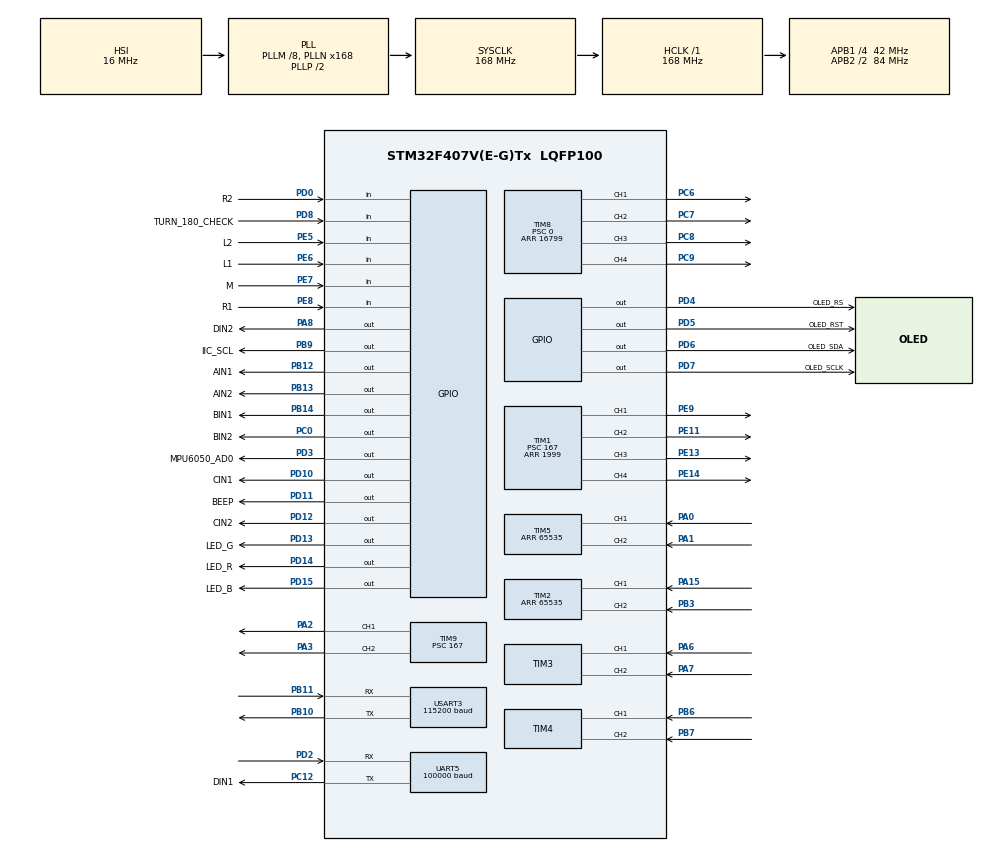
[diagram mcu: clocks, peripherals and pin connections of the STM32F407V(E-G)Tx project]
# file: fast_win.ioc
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Dma.Request0=USART3_RX
Dma.Request1=USART3_TX
Dma.Request2=UART5_RX
Dma.UART5_RX.2.Direction=DMA_PERIPH_TO_MEMORY
Dma.UART5_RX.2.FIFOMode=DMA_FIFOMODE_DISABLE
Dma.UART5_RX.2.Instance=DMA1_Stream0
Dma.UART5_RX.2.MemDataAlignment=DMA_MDATAALIGN_BYTE
Dma.UART5_RX.2.MemInc=DMA_MINC_ENABLE
Dma.UART5_RX.2.Mode=DMA_NORMAL
Dma.UART5_RX.2.PeriphDataAlignment=DMA_PDATAALIGN_BYTE
Dma.UART5_RX.2.PeriphInc=DMA_PINC_DISABLE
Dma.UART5_RX.2.Priority=DMA_PRIORITY_LOW
Dma.USART3_RX.0.Direction=DMA_PERIPH_TO_MEMORY
Dma.USART3_RX.0.FIFOMode=DMA_FIFOMODE_DISABLE
Dma.USART3_RX.0.Instance=DMA1_Stream1
Dma.USART3_RX.0.MemDataAlignment=DMA_MDATAALIGN_BYTE
Dma.USART3_RX.0.MemInc=DMA_MINC_ENABLE
Dma.USART3_RX.0.Mode=DMA_NORMAL
Dma.USART3_RX.0.PeriphDataAlignment=DMA_PDATAALIGN_BYTE
Dma.USART3_RX.0.PeriphInc=DMA_PINC_DISABLE
Dma.USART3_RX.0.Priority=DMA_PRIORITY_LOW
Dma.USART3_TX.1.Direction=DMA_MEMORY_TO_PERIPH
Dma.USART3_TX.1.FIFOMode=DMA_FIFOMODE_DISABLE
Dma.USART3_TX.1.Instance=DMA1_Stream3
Dma.USART3_TX.1.MemDataAlignment=DMA_MDATAALIGN_BYTE
Dma.USART3_TX.1.MemInc=DMA_MINC_ENABLE
Dma.USART3_TX.1.Mode=DMA_NORMAL
Dma.USART3_TX.1.PeriphDataAlignment=DMA_PDATAALIGN_BYTE
Dma.USART3_TX.1.PeriphInc=DMA_PINC_DISABLE
Dma.USART3_TX.1.Priority=DMA_PRIORITY_LOW
FREERTOS.Tasks01=defaultTask,24,128,StartDefaultTask,Default,NULL,Dynamic,NULL,NULL;myTask02,8,128,StartTask02,Default,NULL,Dynamic,NULL,NULL;appKernelTask,8,128,app_kernel_task,Default,NULL,Dynamic,NULL,NULL
FREERTOS.Timers01=system_timer,system_timer_callback,osTimerPeriodic,Default,NULL,Dynamic,NULL
Mcu.Family=STM32F4
Mcu.Name=STM32F407V(E-G)Tx
Mcu.Package=LQFP100
NVIC.DMA1_Stream0_IRQn=true\:5\:0\:false\:false\:true\:true\:false\:true\:true
NVIC.DMA1_Stream1_IRQn=true\:5\:0\:false\:false\:true\:true\:false\:true\:true
NVIC.DMA1_Stream3_IRQn=true\:5\:0\:false\:false\:true\:true\:false\:true\:true
NVIC.PriorityGroup=NVIC_PRIORITYGROUP_4
NVIC.TIM7_IRQn=true\:15\:0\:false\:false\:true\:false\:false\:true\:true
NVIC.TimeBase=TIM7_IRQn
NVIC.TimeBaseIP=TIM7
NVIC.UART5_IRQn=true\:5\:0\:false\:false\:true\:true\:true\:true\:true
NVIC.USART3_IRQn=true\:5\:0\:false\:false\:true\:true\:true\:true\:true
PA0-WKUP.Signal=S_TIM5_CH1
PA1.Signal=S_TIM5_CH2
PA13.Mode=Serial_Wire
PA13.Signal=SYS_JTMS-SWDIO
PA14.Mode=Serial_Wire
PA14.Signal=SYS_JTCK-SWCLK
PA15.Signal=S_TIM2_CH1_ETR
PA2.Signal=S_TIM9_CH1
PA3.Signal=S_TIM9_CH2
PA6.Signal=S_TIM3_CH1
PA7.Signal=S_TIM3_CH2
PA8.GPIO_Label=DIN2
PA8.Signal=GPIO_Output
PB10.Mode=Asynchronous
PB10.Signal=USART3_TX
PB11.Mode=Asynchronous
PB11.Signal=USART3_RX
PB12.GPIO_Label=AIN1
PB12.Signal=GPIO_Output
PB13.GPIO_Label=AIN2
PB13.Signal=GPIO_Output
PB14.GPIO_Label=BIN1
PB14.Signal=GPIO_Output
PB3.Signal=S_TIM2_CH2
PB6.Signal=S_TIM4_CH1
PB7.Signal=S_TIM4_CH2
PB9.GPIO_Label=IIC_SCL
PB9.Signal=GPIO_Output
PC0.GPIO_Label=BIN2
PC0.Signal=GPIO_Output
PC12.GPIO_Label=DIN1
PC12.Mode=Asynchronous
PC12.Signal=UART5_TX
PC14-OSC32_IN.Mode=LSE-External-Oscillator
PC14-OSC32_IN.Signal=RCC_OSC32_IN
PC15-OSC32_OUT.Mode=LSE-External-Oscillator
PC15-OSC32_OUT.Signal=RCC_OSC32_OUT
PC6.Signal=S_TIM8_CH1
PC7.Signal=S_TIM8_CH2
PC8.Signal=S_TIM8_CH3
PC9.Signal=S_TIM8_CH4
PD0.GPIO_Label=R2
PD0.Signal=GPIO_Input
PD10.GPIO_Label=CIN1
PD10.Signal=GPIO_Output
PD11.GPIO_Label=BEEP
PD11.GPIO_PuPd=GPIO_PULLDOWN
PD11.Signal=GPIO_Output
PD12.GPIO_Label=CIN2
PD12.Signal=GPIO_Output
PD13.GPIO_Label=LED_G
PD13.GPIO_PuPd=GPIO_PULLUP
PD13.Signal=GPIO_Output
PD14.GPIO_Label=LED_R
PD14.GPIO_PuPd=GPIO_PULLUP
PD14.Signal=GPIO_Output
PD15.GPIO_Label=LED_B
PD15.GPIO_PuPd=GPIO_PULLUP
PD15.Signal=GPIO_Output
PD2.Mode=Asynchronous
PD2.Signal=UART5_RX
PD3.GPIO_Label=MPU6050_AD0
PD3.GPIO_PuPd=GPIO_PULLUP
PD3.Signal=GPIO_Output
PD4.GPIO_Label=OLED_RS
PD4.Signal=GPIO_Output
PD5.GPIO_Label=OLED_RST
PD5.Signal=GPIO_Output
PD6.GPIO_Label=OLED_SDA
PD6.Signal=GPIO_Output
PD7.GPIO_Label=OLED_SCLK
PD7.Signal=GPIO_Output
PD8.GPIO_Label=TURN_180_CHECK
PD8.Signal=GPIO_Input
PE11.Signal=S_TIM1_CH2
PE13.Signal=S_TIM1_CH3
PE14.Signal=S_TIM1_CH4
PE5.GPIO_Label=L2
PE5.Signal=GPIO_Input
PE6.GPIO_Label=L1
PE6.Signal=GPIO_Input
PE7.GPIO_Label=M
PE7.Signal=GPIO_Input
PE8.GPIO_Label=R1
PE8.Signal=GPIO_Input
PE9.Signal=S_TIM1_CH1
PH0-OSC_IN.Mode=HSE-External-Oscillator
PH0-OSC_IN.Signal=RCC_OSC_IN
PH1-OSC_OUT.Mode=HSE-External-Oscillator
PH1-OSC_OUT.Signal=RCC_OSC_OUT
ProjectManager.HeapSize=0x200
ProjectManager.StackSize=0x400
ProjectManager.TargetToolchain=MDK-ARM V5.32
RCC.48MHZClocksFreq_Value=84000000
RCC.AHBFreq_Value=168000000
RCC.APB1CLKDivider=RCC_HCLK_DIV4
RCC.APB1Freq_Value=42000000
RCC.APB1TimFreq_Value=84000000
RCC.APB2CLKDivider=RCC_HCLK_DIV2
RCC.APB2Freq_Value=84000000
RCC.APB2TimFreq_Value=168000000
RCC.CortexFreq_Value=168000000
RCC.HCLKFreq_Value=168000000
RCC.HSE_VALUE=8000000
RCC.HSI_VALUE=16000000
RCC.PLLM=8
RCC.PLLN=168
RCC.SYSCLKFreq_VALUE=168000000
RCC.SYSCLKSource=RCC_SYSCLKSOURCE_PLLCLK
RCC.VCOOutputFreq_Value=336000000
SH.S_TIM1_CH1.0=TIM1_CH1,PWM Generation1 CH1
SH.S_TIM1_CH2.0=TIM1_CH2,PWM Generation2 CH2
SH.S_TIM1_CH3.0=TIM1_CH3,PWM Generation3 CH3
SH.S_TIM1_CH4.0=TIM1_CH4,PWM Generation4 CH4
SH.S_TIM2_CH1_ETR.0=TIM2_CH1,Encoder_Interface
SH.S_TIM2_CH2.0=TIM2_CH2,Encoder_Interface
SH.S_TIM3_CH1.0=TIM3_CH1,Encoder_Interface
SH.S_TIM3_CH2.0=TIM3_CH2,Encoder_Interface
SH.S_TIM4_CH1.0=TIM4_CH1,Encoder_Interface
SH.S_TIM4_CH2.0=TIM4_CH2,Encoder_Interface
SH.S_TIM5_CH1.0=TIM5_CH1,Encoder_Interface
SH.S_TIM5_CH2.0=TIM5_CH2,Encoder_Interface
SH.S_TIM8_CH1.0=TIM8_CH1,PWM Generation1 CH1
SH.S_TIM8_CH2.0=TIM8_CH2,PWM Generation2 CH2
SH.S_TIM8_CH3.0=TIM8_CH3,PWM Generation3 CH3
SH.S_TIM8_CH4.0=TIM8_CH4,PWM Generation4 CH4
SH.S_TIM9_CH1.0=TIM9_CH1,PWM Generation1 CH1
SH.S_TIM9_CH2.0=TIM9_CH2,PWM Generation2 CH2
TIM1.Channel-PWM\ Generation1\ CH1=TIM_CHANNEL_1
TIM1.Channel-PWM\ Generation2\ CH2=TIM_CHANNEL_2
TIM1.Channel-PWM\ Generation3\ CH3=TIM_CHANNEL_3
TIM1.Channel-PWM\ Generation4\ CH4=TIM_CHANNEL_4
TIM1.Period=1999
TIM1.Prescaler=167
TIM2.EncoderMode=TIM_ENCODERMODE_TI12
TIM2.IC1Filter=6
TIM2.IC2Filter=6
TIM2.Period=65535
TIM3.EncoderMode=TIM_ENCODERMODE_TI12
TIM3.IC1Filter=6
TIM3.IC2Filter=6
TIM4.EncoderMode=TIM_ENCODERMODE_TI12
TIM4.IC1Filter=6
TIM4.IC2Filter=6
TIM5.EncoderMode=TIM_ENCODERMODE_TI12
TIM5.IC1Filter=6
TIM5.IC2Filter=6
TIM5.Period=65535
TIM8.Channel-PWM\ Generation1\ CH1=TIM_CHANNEL_1
TIM8.Channel-PWM\ Generation2\ CH2=TIM_CHANNEL_2
TIM8.Channel-PWM\ Generation3\ CH3=TIM_CHANNEL_3
TIM8.Channel-PWM\ Generation4\ CH4=TIM_CHANNEL_4
TIM8.Period=16799
TIM8.Prescaler=0
TIM9.Channel-PWM\ Generation1\ CH1=TIM_CHANNEL_1
TIM9.Channel-PWM\ Generation2\ CH2=TIM_CHANNEL_2
TIM9.Period=1999
TIM9.Prescaler=167
UART5.BaudRate=100000
UART5.Mode=MODE_RX
UART5.Parity=PARITY_EVEN
UART5.StopBits=UART_STOPBITS_2
UART5.VirtualMode=Asynchronous
UART5.WordLength=WORDLENGTH_9B
USART3.BaudRate=115200
USART3.VirtualMode=VM_ASYNC
USART3.WordLength=WORDLENGTH_8B
VP_FREERTOS_VS_CMSIS_V2.Mode=CMSIS_V2
VP_SYS_VS_tim7.Mode=TIM7
VP_TIM8_VS_ClockSourceINT.Mode=Internal
board=custom

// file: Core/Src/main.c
/* USER CODE BEGIN Header */
/**
  ******************************************************************************
  * @file           : 2024-TUST-ROBOTAC-SuperEgo-STM32下位机工程
  * @brief          : Main program body
  ******************************************************************************
  * @attention
  *
  * Copyright (c) 2024 STMicroelectronics.
  * All rights reserved.
  *
  * This software is licensed under terms that can be found in the LICENSE file
  * in the root directory of this software component.
  * If no LICENSE file comes with this software, it is provided AS-IS.
  *
  ******************************************************************************
  */
/* USER CODE END Header */
#include "main.h"
#include "cmsis_os.h"
#include "dma.h"
#include "tim.h"
#include "usart.h"
#include "gpio.h"

void SystemClock_Config(void);
void MX_FREERTOS_Init(void);

int main(void)
{

  /* MCU Configuration--------------------------------------------------------*/

  /* Reset of all peripherals, Initializes the Flash interface and the Systick. */
  HAL_Init();

  /* Configure the system clock */
  SystemClock_Config();

  /* Initialize all configured peripherals */
  MX_GPIO_Init();
  MX_DMA_Init();
  MX_USART3_UART_Init();
  MX_UART5_Init();
  MX_TIM2_Init();
  MX_TIM3_Init();
  MX_TIM4_Init();
  MX_TIM5_Init();
  MX_TIM8_Init();
  MX_TIM1_Init();
  MX_TIM9_Init();
  /* USER CODE BEGIN 2 */
	system_init();
  /* USER CODE END 2 */

  /* Init scheduler */
  osKernelInitialize();  /* Call init function for freertos objects (in freertos.c) */
  MX_FREERTOS_Init();

  /* Start scheduler */
  osKernelStart();

  /* We should never get here as control is now taken by the scheduler */
  /* Infinite loop */
  while (1)
  {

  }
}

void SystemClock_Config(void)
{
  RCC_OscInitTypeDef RCC_OscInitStruct = {0};
  RCC_ClkInitTypeDef RCC_ClkInitStruct = {0};

  /** Configure the main internal regulator output voltage
  */
  __HAL_RCC_PWR_CLK_ENABLE();
  __HAL_PWR_VOLTAGESCALING_CONFIG(PWR_REGULATOR_VOLTAGE_SCALE1);

  /** Initializes the RCC Oscillators according to the specified parameters
  * in the RCC_OscInitTypeDef structure.
  */
  RCC_OscInitStruct.OscillatorType = RCC_OSCILLATORTYPE_HSI;
  RCC_OscInitStruct.HSIState = RCC_HSI_ON;
  RCC_OscInitStruct.HSICalibrationValue = RCC_HSICALIBRATION_DEFAULT;
  RCC_OscInitStruct.PLL.PLLState = RCC_PLL_ON;
  RCC_OscInitStruct.PLL.PLLSource = RCC_PLLSOURCE_HSI;
  RCC_OscInitStruct.PLL.PLLM = 8;
  RCC_OscInitStruct.PLL.PLLN = 168;
  RCC_OscInitStruct.PLL.PLLP = RCC_PLLP_DIV2;
  RCC_OscInitStruct.PLL.PLLQ = 4;
  if (HAL_RCC_OscConfig(&RCC_OscInitStruct) != HAL_OK)
  {
    Error_Handler();
  }

  /** Initializes the CPU, AHB and APB buses clocks
  */
  RCC_ClkInitStruct.ClockType = RCC_CLOCKTYPE_HCLK|RCC_CLOCKTYPE_SYSCLK
                              |RCC_CLOCKTYPE_PCLK1|RCC_CLOCKTYPE_PCLK2;
  RCC_ClkInitStruct.SYSCLKSource = RCC_SYSCLKSOURCE_PLLCLK;
  RCC_ClkInitStruct.AHBCLKDivider = RCC_SYSCLK_DIV1;
  RCC_ClkInitStruct.APB1CLKDivider = RCC_HCLK_DIV4;
  RCC_ClkInitStruct.APB2CLKDivider = RCC_HCLK_DIV2;

  if (HAL_RCC_ClockConfig(&RCC_ClkInitStruct, FLASH_LATENCY_5) != HAL_OK)
  {
    Error_Handler();
  }
}

void HAL_TIM_PeriodElapsedCallback(TIM_HandleTypeDef *htim)
{
  if (htim->Instance == TIM7) {
    HAL_IncTick();
  }
}

void Error_Handler(void)
{
  __disable_irq();
  while (1)
  {
  }
}

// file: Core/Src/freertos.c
/* USER CODE BEGIN Header */
/**
  ******************************************************************************
  * File Name          : freertos.c
  * Description        : Code for freertos applications
  ******************************************************************************
  * @attention
  *
  * Copyright (c) 2024 STMicroelectronics.
  * All rights reserved.
  *
  * This software is licensed under terms that can be found in the LICENSE file
  * in the root directory of this software component.
  * If no LICENSE file comes with this software, it is provided AS-IS.
  *
  ******************************************************************************
  */
/* USER CODE END Header */

#include "FreeRTOS.h"
#include "task.h"
#include "main.h"
#include "cmsis_os.h"

/* Definitions for defaultTask */
osThreadId_t defaultTaskHandle;
const osThreadAttr_t defaultTask_attributes = {
  .name = "defaultTask",
  .stack_size = 128 * 4,
  .priority = (osPriority_t) osPriorityNormal,
};
/* Definitions for myTask02 */
osThreadId_t myTask02Handle;
const osThreadAttr_t myTask02_attributes = {
  .name = "myTask02",
  .stack_size = 128 * 4,
  .priority = (osPriority_t) osPriorityLow,
};
/* Definitions for appKernelTask */
osThreadId_t appKernelTaskHandle;
const osThreadAttr_t appKernelTask_attributes = {
  .name = "appKernelTask",
  .stack_size = 128 * 4,
  .priority = (osPriority_t) osPriorityLow,
};
/* Definitions for system_timer */
osTimerId_t system_timerHandle;
const osTimerAttr_t system_timer_attributes = {
  .name = "system_timer"
};

void StartDefaultTask(void *argument);
void StartTask02(void *argument);
void app_kernel_task(void *argument);
void system_timer_callback(void *argument);

void MX_FREERTOS_Init(void); /* (MISRA C 2004 rule 8.1) */

void MX_FREERTOS_Init(void) {

  /* Create the timer(s) */
  /* creation of system_timer */
  system_timerHandle = osTimerNew(system_timer_callback, osTimerPeriodic, NULL, &system_timer_attributes);

  /* Create the thread(s) */
  /* creation of defaultTask */
  defaultTaskHandle = osThreadNew(StartDefaultTask, NULL, &defaultTask_attributes);

  /* creation of myTask02 */
  myTask02Handle = osThreadNew(StartTask02, NULL, &myTask02_attributes);

  /* creation of appKernelTask */
  appKernelTaskHandle = osThreadNew(app_kernel_task, NULL, &appKernelTask_attributes);

}

void StartDefaultTask(void *argument)
{
  /* USER CODE BEGIN StartDefaultTask */
	uint8_t str[] = "SuperEgo";
	OLED_ShowString(30, 0, str);
	OLED_ShowString(0, 15, (u8*)"infr:");
	OLED_ShowString(0, 30, (u8*)"pecd:");
	OLED_Refresh_Gram();

	osTimerStart(system_timerHandle, 1);//开启系统软件定时器，设置周期为1个系统节拍(1ms)

  /* Infinite loop */
  for(;;)
  {
		infrared_oled_show();		//显示灰度传感器的值
		pushrod_encoder_test();	//显示推杆编码器的值
		motot_show_DC_encoder();//显示左右电机的编码器的数值
    osDelay(20);
  }
  /* USER CODE END StartDefaultTask */
}

/* USER CODE BEGIN Header_StartTask02 */
/**
* @brief 任务2专用于电机pi闭环控制
* @param argument: Not used
* @retval None
*/
/* USER CODE END Header_StartTask02 */
void StartTask02(void *argument)
{
  /* USER CODE BEGIN StartTask02 */
//	motorD.speed = 10;
//	motorC.speed = 10;
//	motor_task();//电机速度闭环核心控制任务，注意，调试极性的时候，要注释此行
//		trace_set_motor(BASE_SPEED, BASE_SPEED);
	//温警提示：在StartTask02这个任务中，这一行以后，写的任何代码都无效(motor_task是死循环)
	osDelay(3000);
  /* Infinite loop */
  for(;;)
  {
//		fsi6_control_motorCD();
		osDelay(10);
  }
  /* USER CODE END StartTask02 */
}

void app_kernel_task(void *argument)
{
  /* USER CODE BEGIN app_kernel_task */
	pushrod_reset();				//复位推杆
	u32 lastWakeTime = systick;
  /* Infinite loop */
  for(;;)
  {
		vTaskDelayUntil(&lastWakeTime, 1);//绝对延时（位运算，switch双管齐下，app_kernel的运行时间很低，因此1个节拍也能驾驭这个任务）
		app_kernel();
  }
  /* USER CODE END app_kernel_task */
}

/* system_timer_callback function */
void system_timer_callback(void *argument)
{
  /* USER CODE BEGIN system_timer_callback */
	if(!(++systick%200))//系统led灯每隔200个节拍闪烁一次
	{
		system_led_heat();
	}
  /* USER CODE END system_timer_callback */
}
